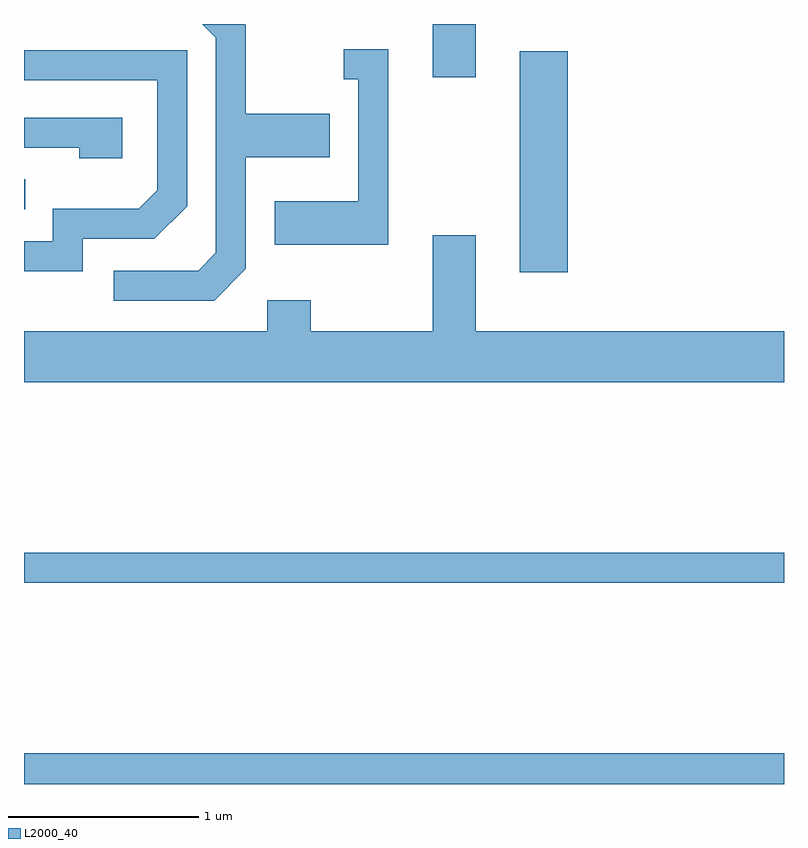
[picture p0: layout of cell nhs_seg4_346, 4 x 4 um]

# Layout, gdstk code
import gdstk
lib = gdstk.Library(unit=1e-6, precision=1e-09)
def R(c, l, rs):  # rectangles x0, y0, x1, y1
    for r in rs: c.add(gdstk.rectangle(r[:2], r[2:], *l))
def P(c, l, *ps):  # polygons
    for p in ps: c.add(gdstk.Polygon(p, *l))
L2000_40 = (2000, 40)

nhs_seg4_346 = lib.new_cell('nhs_seg4_346')
R(nhs_seg4_346, L2000_40, [(195.611,1265.982,199.611,1266.144), (195.611,1267.041,199.611,1267.199), (198.221,1268.676,198.474,1269.839), (195.611,1269.006,195.618,1269.164), (197.761,1269.701,197.989,1269.982)])
P(nhs_seg4_346, L2000_40, [(196.779,1268.694),(196.779,1269.281),(197.219,1269.281),(197.219,1269.509),(196.779,1269.509),(196.779,1269.977),(196.774,1269.982),(196.548,1269.982),(196.621,1269.909),(196.621,1268.777),(196.529,1268.684),(196.083,1268.684),(196.083,1268.526),(196.612,1268.526)],
  [(197.529,1269.849),(197.293,1269.849),(197.293,1269.691),(197.371,1269.691),(197.371,1269.049),(196.931,1269.049),(196.931,1268.821),(197.529,1268.821)],
  [(195.919,1268.851),(196.297,1268.851),(196.469,1269.024),(196.469,1269.844),(195.611,1269.844),(195.611,1269.686),(196.311,1269.686),(196.311,1269.107),(196.214,1269.009),(195.761,1269.009),(195.761,1268.839),(195.611,1268.839),(195.611,1268.681),(195.919,1268.681)],
  [(196.129,1269.489),(195.611,1269.489),(195.611,1269.331),(195.901,1269.331),(195.901,1269.276),(196.129,1269.276)],
  [(199.611,1268.364),(197.989,1268.364),(197.989,1268.869),(197.761,1268.869),(197.761,1268.364),(197.119,1268.364),(197.119,1268.529),(196.891,1268.529),(196.891,1268.364),(195.611,1268.364),(195.611,1268.096),(199.611,1268.096)])

lib.write_gds('nhs_seg4_346.gds')
